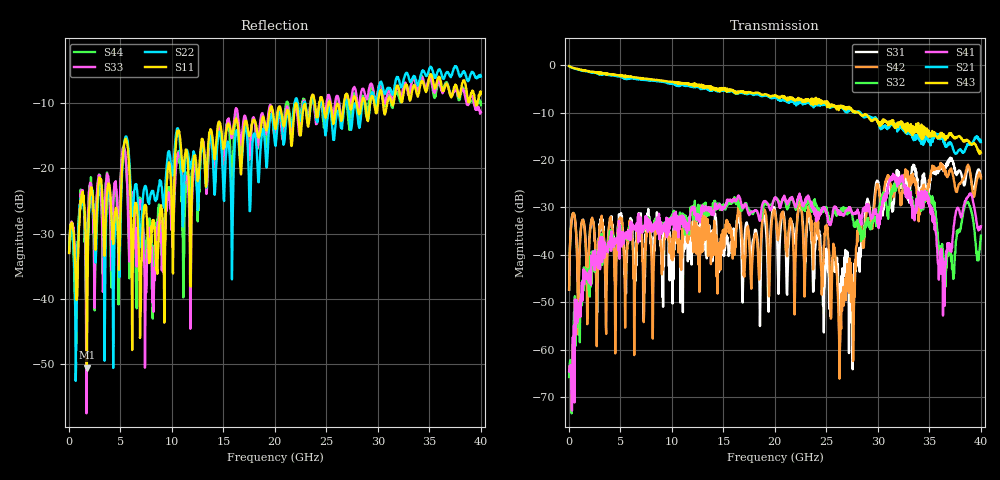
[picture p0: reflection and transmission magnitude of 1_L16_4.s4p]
! 7/15/2021 6:45:01 PM
! C:\USERS\VECTORSTARUSER\DESKTOP\SAMPLE\2021\PD7\18VPD7094DY\1-L16-4.S4P
! CHANNEL.1
! TR.MEASUREMENT
! CORRECTED.DATA
! RF.CORRECTION: FULL.FOUR.PORT.CAL.PORT.1.2.3.4
! AVERAGING.OFF
! IF.BANDWIDTH: 1KHZ
! SWEEPTYPE:  FREQ.SWEEP(Linear)
! Reference Plane Port Info
! PORT:  PORT1  PORT2  PORT3  PORT4
! DISTANCE:  0  m  0  m  0  m  0  m
! TIME:  0  s  0  s  0  s  0  s
! PHASE.OFFSET:  0 °  0 °  0 °  0 °
! LOSS:  0  dB  0  dB  0  dB  0  dB
! REF.LOSS:  0  dB  0  dB  0  dB  0  dB
! REF.FREQ:  0  Hz  0  Hz  0  Hz  0  Hz
! Power Info
! POWER:  -10  dBm  -10  dBm  -10  dBm  -10  dBm
! EFF.POWER:  -10  dBm  -10  dBm  -10  dBm  -10  dBm
# GHZ S RI R 50.0
! FREQ.GHZ  S11RE  S11IM  S12RE  S12IM  S13RE  S13IM  S14RE  S14IM
!  S21RE  S21IM  S22RE  S22IM  S23RE  S23IM  S24RE  S24IM
!  S31RE  S31IM  S32RE  S32IM  S33RE  S33IM  S34RE  S34IM
!  S41RE  S41IM  S42RE  S42IM  S43RE  S43IM  S44RE  S44IM
!; PortSelection: Port_1234
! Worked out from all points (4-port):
!   1000 points, 40 MHz to 40 GHz, reference 50 ohm
!   strongest paths, dB at 40 MHz, 10.04 GHz, 20.04 GHz, 30.04 GHz, 40 GHz:
!     S43: -0.2, -3.5, -6.4, -12.2, -18.5
!     S21: -0.2, -3.8, -6.8, -12.2, -16.2
!     S41: -64.6, -33.6, -27.8, -32.7, -34.0
!     S32: -65.8, -32.2, -28.0, -32.3, -35.9
!     S42: -47.4, -36.6, -31.4, -25.7, -23.9
!     S31: -47.3, -39.8, -30.7, -24.6, -23.5
!   lowest |S11| = -50.5 dB at 1.76 GHz (marker M1), VSWR 1.01, Z = 49.9 + j0.264 ohm
!   |S11| at or under -10 dB: start of sweep to 23.49 GHz; 24.67 GHz to 25.22 GHz (545 MHz wide, 2.18 % of centre); 25.36 GHz to 26.71 GHz (1.354 GHz wide, 5.2 % of centre)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
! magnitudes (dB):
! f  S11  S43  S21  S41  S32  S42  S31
! 40 MHz  -33.0  -0.2  -0.2  -64.6  -65.8  -47.4  -47.3
! 1.76 GHz  -50.5  -1.2  -1.2  -43.8  -44.4  -47.2  -44.1
! 5.52 GHz  -15.6  -2.2  -2.6  -35.9  -35.7  -44.9  -44.8
! 22.44 GHz  -15.0  -7.1  -7.4  -27.9  -27.9  -29.4  -29.1
! 26.32 GHz  -11.6  -9.0  -9.0  -31.5  -31.0  -59.6  -50.2
! 29.92 GHz  -11.5  -11.6  -11.5  -31.7  -33.4  -25.0  -24.3
! 40 GHz  -8.3  -18.5  -16.2  -34.0  -35.9  -23.9  -23.5
